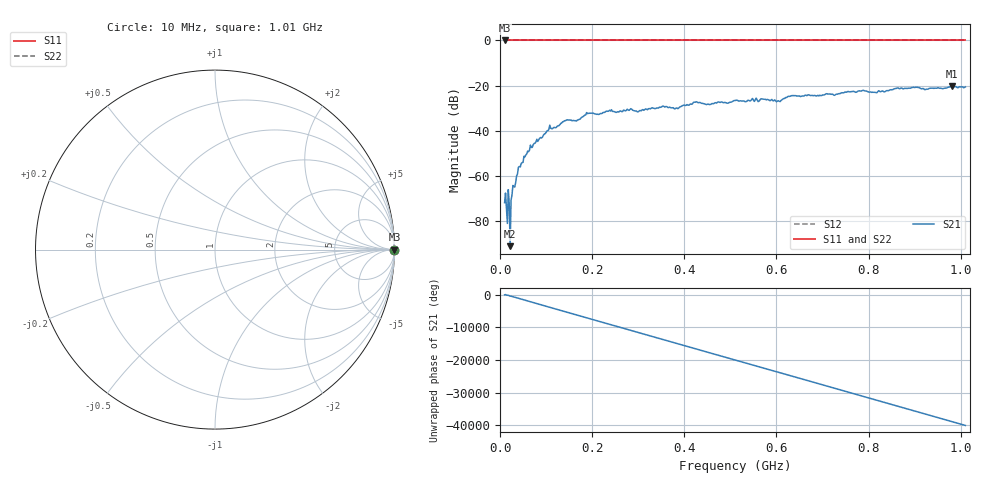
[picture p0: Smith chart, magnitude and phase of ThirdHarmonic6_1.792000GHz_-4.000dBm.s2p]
! 8/16/2025 9:40:33 PM
! C:\ANRITSUVNA\TEMP\TEMP.S2P
! CHANNEL.1
! TR.MEASUREMENT
! RAW.DATA
! RF.CORRECTION.OFF
! AVERAGING.OFF
! IF.BANDWIDTH: 5KHZ
! SWEEPTYPE:  FREQ.SWEEP(Linear)
! Reference Plane Port Info
! PORT:  PORT1  PORT2
! DISTANCE:  0  m  0  m
! TIME:  0  s  0  s
! PHASE.OFFSET:  0  deg.  0  deg.
! LOSS:  0  dB  0  dB
! REF.LOSS:  0  dB  0  dB
! REF.FREQ:  0  Hz  0  Hz
! Power Info
! POWER:  -20  dBm  -20  dBm
! EFF.POWER:  -20  dBm  -20  dBm
! SOURCE.ATTEN:  0  dB  0  dB
! TEST.ATTEN:  0  dB  0  dB
# GHZ S RI R 50.0
! FREQ.GHZ  S11RE  S11IM  S21RE  S21IM  S12RE  S12IM  S22RE  S22IM
!; PortSelection: Port_12
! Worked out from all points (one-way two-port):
!   501 points, 10 MHz to 1.01 GHz, reference 50 ohm
!   highest |S21| = -20.39 dB at 980 MHz (marker M1); lowest = -91.1 dB at 22 MHz (marker M2)
!   lowest |S11| = 0.0 dB at 10 MHz (marker M3)
!   |S11| at or under -10 dB: nowhere
!   |S22| runs from 0.0 to 0.0 dB; largest |S21 - S12| = 1.1
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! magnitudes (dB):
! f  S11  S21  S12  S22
! 10 MHz  0.0  -71.8  0.0  0.0
! 12 MHz  0.0  -67.6  0.0  0.0
! 16 MHz  0.0  -81.0  0.0  0.0
! 18 MHz  0.0  -66.1  0.0  0.0
! 22 MHz  0.0  -91.1  0.0  0.0
! 26 MHz  0.0  -68.5  0.0  0.0
! 28 MHz  0.0  -64.2  0.0  0.0
! 42 MHz  0.0  -55.8  0.0  0.0
! 70 MHz  0.0  -47.3  0.0  0.0
! 106 MHz  0.0  -39.5  0.0  0.0
! 142 MHz  0.0  -35.6  0.0  0.0
! 178 MHz  0.0  -33.9  0.0  0.0
! 192 MHz  0.0  -32.3  0.0  0.0
! 344 MHz  0.0  -29.9  0.0  0.0
! 382 MHz  0.0  -30.0  0.0  0.0
! 510 MHz  0.0  -26.6  0.0  0.0
! 604 MHz  0.0  -26.7  0.0  0.0
! 630 MHz  0.0  -24.7  0.0  0.0
! 678 MHz  0.0  -24.3  0.0  0.0
! 844 MHz  0.0  -22.2  0.0  0.0
! 980 MHz  0.0  -20.4  0.0  0.0
! 1.01 GHz  0.0  -20.5  0.0  0.0
